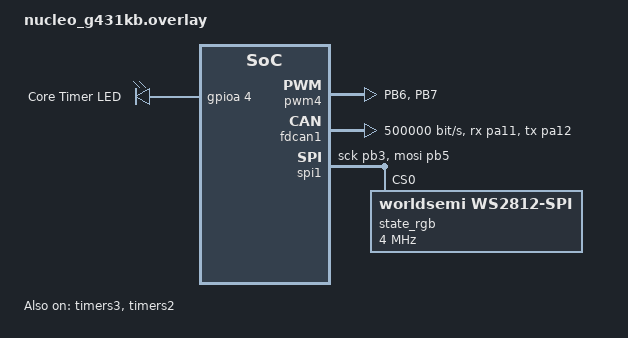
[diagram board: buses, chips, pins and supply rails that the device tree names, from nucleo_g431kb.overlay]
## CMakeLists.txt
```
# SPDX-License-Identifier: Apache-2.0

cmake_minimum_required(VERSION 3.20.0)
find_package(Zephyr REQUIRED HINTS $ENV{ZEPHYR_BASE})
project(G431KB_PWM_APP)

target_sources(app PRIVATE 
	src/main.c
	src/PWM/pwm.c
	src/QDEC/qdec.c
	src/TIMER/main_timer.c
	src/CAN/fdcan.c
	src/TIMER/main_timer.c
	src/STATE_MACHINE/state_machine.c
	src/STAT_RGB/status_rgb.c
	src/PID/pid.c
	src/TASK_WATCHDOG/t_watchdog.c
	#src/UART/uart.c
)
```

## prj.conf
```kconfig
CONFIG_LOG=y
CONFIG_LOG_DEFAULT_LEVEL=3
CONFIG_STDOUT_CONSOLE=y
CONFIG_PWM=y
CONFIG_SENSOR=y
CONFIG_COUNTER=y
CONFIG_CAN=y
CONFIG_CAN_FD_MODE=y
CONFIG_CAN_STM32_FDCAN=y
CONFIG_GPIO=y
CONFIG_SPI=y
CONFIG_LED_STRIP=y
CONFIG_WS2812_STRIP_SPI=y
CONFIG_CBPRINTF_FP_SUPPORT=y
#CONFIG_UART_ASYNC_API=y
#CONFIG_UART_INTERRUPT_DRIVEN=n
```

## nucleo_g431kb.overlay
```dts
/* Pins pa2, pa3, pb8, pa9 and pa8 are all used up in nucleo_g431kb.dts */
/* Timer #4 is being used in nucleo_g432kb.dts for pwm on PB8*/
/* PB6 & PB7 used for PWM */
/* PA6 and PA7 used for QDEC input */
/* PA11 used for FDCAN_RX, PA12 used for FDCAN_TX */ 
/* PA4 used for Core Timer's LED. */
/* PB5 used for SPI MOSI and PB3 used for SPI SCK for State RGB */
/* PA15 used for USART2_RX, PA14 used for USART2_TX */

#include <zephyr/dt-bindings/led/led.h>

&leds{
        timer_led: led_1{
                gpios = <&gpioa 4 GPIO_ACTIVE_HIGH>;
                label = "Core Timer LED";
        };
};

&pinctrl {
	/* Pulling up both PWM pins as PWM set to function on active low. */
	tim4_ch1_pb6_pullup: tim4_ch1_pb6_pullup{
		pinmux = <STM32_PINMUX('B', 6, AF2)>;
		bias-pull-up;
	};
	
	tim4_ch2_pb7_pullup: tim4_ch2_pb7_pullup{
		pinmux = <STM32_PINMUX('B', 7, AF2)>;
		bias-pull-up;
	};
	
};


/* timer3 used for qdec input from motors */
&timers3 {
        status = "okay";
	qdec3: qdec{
		status = "okay";
		pinctrl-0 = <&tim3_ch1_pa6 &tim3_ch2_pa7>; // PA6 and PA7 both on CN3 side.
		pinctrl-names = "default";
		st,encoder-mode = <0x3>; // Mode 3 uses both A and B qdec channels from the motor.
		st,input-filter-level = <15>; // Fsampling = F_clk/32, N=8
		st,counts-per-revolution = <2448>; // Motor's 12PPR, 1:51 gear ratio and x4 pulses of Mode 3 = 2448 
	};
};

/* timer 2 (32-bit) for background clock timer */
&timers2 {
        status = "okay";
        timer2_counter: counter{
                status = "okay";
        };
};

/* Use timer4 for pwm generation for motors */
/* (!) Already enabled in 'nucleo_g431kb.dts' */ 
&timers4 {
        // (!) Prescaler for timer 4 already set to 10000 in 'nucleo_g431kb.dts'
        st,prescaler = <0>;
};

&pwm4 {
        /* Using TIM4 (16-bit) independent channel 1 connected to pin pb6 on the board for IN1 on DRV8871*/
        /* Using TIM4 (16-bit) independent channel 2 connected to pin pb7 on the board for IN2 on DRV8871*/
        pinctrl-0 = <&tim4_ch1_pb6_pullup &tim4_ch2_pb7_pullup>;
};


/* FDCAN */
&fdcan1 {
	status = "okay";
	// (!) Need to define source clock for FDCAN peripheral. 
	clocks = <&rcc STM32_CLOCK(APB1, 25)>, <&rcc STM32_SRC_PCLK FDCAN_SEL(1)>;
	bitrate = <500000>;
	bitrate-data = <2000000>;
	/* pa11 for FDCAN RX */
	/* pa12 for FDCAN TX */
	pinctrl-0 = <&fdcan1_rx_pa11 &fdcan1_tx_pa12>;
	pinctrl-names = "default";
};


/* SPI */
&spi1 {
	status = "okay";    
        pinctrl-0 = <&spi1_sck_pb3 &spi1_mosi_pb5>; // SCK pin definition required
	pinctrl-names = "default";
         
        state_rgb: ws2812@0{
	compatible = "worldsemi,ws2812-spi";
                 
              	/* SPI */
 		reg = <0>; /* ignored, but necessary for SPI bindings */
 		spi-max-frequency = <4000000>;
 		frame-format = <32768>; /* SPI_FRAME_FORMAT_TI */
 
 		/* WS2812 */
 		chain-length = <1>; /* arbitrary; change at will */
 		spi-one-frame = <0x70>;
 		spi-zero-frame = <0x40>;
 		color-mapping = <LED_COLOR_ID_GREEN
 				 LED_COLOR_ID_RED
 				 LED_COLOR_ID_BLUE>;
        
        };
};

/* USART */
//&usart2 {
//	status = "okay";
//	pinctrl-0 = <&usart2_tx_pb3 &usart2_rx_pa15>;
//	pinctrl-names = "default";
	
//	// According to "dmamux1" node under "stm32g4.dtsi", requires 3 cells.
//	dmas = <&dmamux1 0 26 (STM32_DMA_PERIPH_RX | STM32_DMA_PRIORITY_HIGH) >, // Connecting USART2_RX (26) to channel 1 of DMA1
//	       <&dmamux1 1 27 (STM32_DMA_PERIPH_TX | STM32_DMA_PRIORITY_HIGH) >; // Connecting USART2_RX (27) to channel 2 of DMA1
	       
//	dma-names = "rx", "tx";
//};

/* DMAs */
//&dma1 {
//	status = "okay";
//};

//&dmamux1 {
//	status = "okay";
//};
```

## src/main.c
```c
#include <zephyr/kernel.h>
#include <zephyr/device.h>
#include "types.h"
#include "PWM/pwm.h"
#include "QDEC/qdec.h"
#include "DRIVER_CONFIG/can_config.h"
#include "CAN/fdcan.h"
#include "TIMER/main_timer.h"
#include "STATE_MACHINE/state_machine.h"
#include "STAT_RGB/status_rgb.h"
#include "TASK_WATCHDOG/t_watchdog.h"
//#include "UART/uart.h"
#include "err_msgq.h"
#include <zephyr/logging/log.h>
#include <zephyr/sys/byteorder.h>// For "sys_be32_to_cpu"

LOG_MODULE_REGISTER(main, 3); // Info level

// ============================================================================
// MACROS
// ============================================================================
#define ERR_MSGQ_SIZE 10 // Number of data elements that can be held by msgq.

// ============================================================================
// Local variables
// ============================================================================
static const uint32_t main_thread_sleep_ms = 100000;
static struct sm t_arr[1]; // Statically allocating memory for 'state_machine_p'
static struct sm* state_machine_p = t_arr;

// ============================================================================
// Forward Declarations
// ============================================================================
int _init_components();
int _start_components();

// ============================================================================
// Thread that waits on new CAN messages on "can_rx_msgq"
// ============================================================================

// ============================================================================
// Error message queue related
// ============================================================================
// Message queue variable
struct k_msgq err_msgq;

// Initialize error message queue
K_MSGQ_DEFINE(err_msgq, sizeof(struct err_msgq_data), ERR_MSGQ_SIZE, 1);

int main (void)
{
    LOG_INF("In main.");
    // MAIN LOOP SHOULD ONLY BE RESPONSIBLE FOR THREAD INIT AND PERIOD ERROR 
    // CHECKING !

    struct err_msgq_data err_data;
    int ret = 0;
    
    LOG_INF("Initializaing components.");

    ret = _init_components();

    if(!ret){
        LOG_ERR("Failed to initialize one or more components.");
        return 0;
    }

    ret = _start_components();

    if (!ret){
        LOG_ERR("Failed to start one or more components.");
        return 0;
    }

    while(1){
        LOG_INF("Main loop.\n");


        // Check to see if there are any errors in the error message queue
        ret = k_msgq_get(&err_msgq, &err_data, K_NO_WAIT);


        if(!ret){
            switch(err_data.thread){
                case PWM:
                    printk("PWM thread error %d.\n", err_data.err_no);
                    // TODO: Send data to main mcu via CAN.
                    // TODO: Re-initialize the PWM thread.
                    break;
                default:
                    printk("Unknown thread id of %d with err no of %d.\n",
                           err_data.thread,
                           err_data.err_no);
                    // TODO: Send data to main mcu via CAN.
                    break; 
            }
        }
       
        k_msleep(main_thread_sleep_ms);

    }
       
    return 0;
}


// ============================================================================
// Internal helper functions
// ============================================================================
int _init_components()
{
    int ret = 1;

    ret &= t_wd_init();
    if(!ret){
        LOG_ERR("Failed to initialize Task Watchdog timer.");
        return ret;
    }

    ret &= qdec_init(); // Quadrature Encoder
    if(!ret){
        LOG_ERR("Failed to initialize QDEC.");
        return ret;
    }
    ret &= fdcan_init(); // FDCAN 
    if(!ret){
        LOG_ERR("Failed to initialize FDCAN.");
        return ret;
    }
    ret &= core_counter_init(); // Core timer
    if(!ret){
        LOG_ERR("Failed to initialize Counter.");
        return ret;
    }
    ret &= pwm_init(); // PWM
    if(!ret){
        LOG_ERR("Failed to initialize PWM.");
        return ret;
    }

    //ret &= uart_init();
    //if(!ret){
    //    LOG_ERR("Failed to initialize USART.");
    //    return ret;
    //}
    
    ret &= sm_init(state_machine_p); // State machine
    if(!ret){
        LOG_ERR("Failed to initialize state machine.");
        return ret;
    }

    ret &= fd_can_begin_rx_processor(state_machine_p);
    if(!ret){
        LOG_ERR("Failed to start can rx processing thread.");
        return ret;
    }

    ret &= status_rgb_init();
    if(!ret){
        LOG_ERR("Failed to initialize status rgb.");
        return ret;
    }
    return ret;
}

int _start_components()
{
    int ret = 1;
    // Nothing to start for QDEC.
    ret &= set_status_rgb(SM_STATE_IDLE); 
    ret &= fd_can_start();
    ret &= start_core_counter();
    return ret;
}
```

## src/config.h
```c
#ifndef CONFIG_H
#define CONFIG_H

#include <stdint.h>

// Kp and Kd constants for PD controller
const int32_t CNTRL_KP = 10;
const int32_t CNTRL_KD = 10;

// Refresh rate of PD controller
const uint32_t PD_REFR_US = 100;

#endif
```

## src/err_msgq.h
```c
#ifndef ERR_MSGQ_H
#define ERR_MSGQ_H


#include <zephyr/kernel.h>

/*
    Used for exposing the 'err_msgq_data' struct to be used as a data item for
    the 'err_msgq' defined in main.c. This message queue can be used by other
    threads to put their errors onto.
*/

// ============================================================================
// Custom data types
// ============================================================================
typedef enum {PWM = 0, 
              QDEC, 
              CAN, 
              RGB, 
              PD_CNTRL} m_thread_id; // ID to identify the running threads.

// Data item for Error message queue
struct err_msgq_data{m_thread_id thread;
                     uint32_t err_no; // Refer to error enums of different 
                                      // threads.
                    };


#endif
```

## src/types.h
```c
#ifndef TYPES_H
#define TYPES_H

// Motor direction
typedef enum {CLKW, CCLKW} dir; // TEST use for testing msgq.

// ============================================================================
// Motor data
// ============================================================================
typedef struct {
    uint32_t trgt_ticks;
    dir direction; // 0 C.W., 1 for C.C.W
    float angular_vel; // rad/sec. Max at 145 rpm or 15.1844 rad/s
} motor_data_t;

// ============================================================================
// CAN raw data union
// ============================================================================
typedef union {
    uint32_t counter_ticks;
    int32_t angular_velocity; // rad/sec
    // The following is an anonymous struct type. No way to refer to it
    // elsewhere - it exists only for this member 'angular_position'.
    struct {int16_t degrees; int16_t no_of_rev;} angular_position_s;
} can_raw_data_u;


// ============================================================================
// States
// ============================================================================
typedef enum{
    SM_STATE_IDLE = 0,
    SM_STATE_COUNTER_RESET,
    SM_STATE_MOVE,
    SM_STATE_ERROR
} sm_state_t;

// ============================================================================
// Events
// ============================================================================
typedef enum{
    SM_EVENT_COUNTER_RESET = 0, // CAN counter reset command
    SM_EVENT_MOVE,              // Motor move command from alarm
    SM_EVENT_SCHED_MOVE,        // CAN Move command received
    SM_EVENT_SEND_TICKS,
    SM_EVENT_SEND_ENCODER,
    SM_EVENT_STOP_MOTOR,
    SM_EVENT_PID_WD_TIMEOUT,    // PID watchdog timeout event
    SM_EVENT_CAN_TX_ERR,        // Error sending CAN message out
    SM_EVENT_CAN_RX_ERR,
    SM_EVENT_KER_API_ERR,       // Kernal API call errors
    SM_EVENT_ERROR
} sm_event_t;

// Wrapper around the event enum for user to include custom data on each event 
// call.
struct event_struct {
    sm_event_t event;
    union{
        motor_data_t motor;
        motor_data_t *motor_p; // State machine instance's 'pending_move_cmd'
    }user_data;
};

#endif
```
